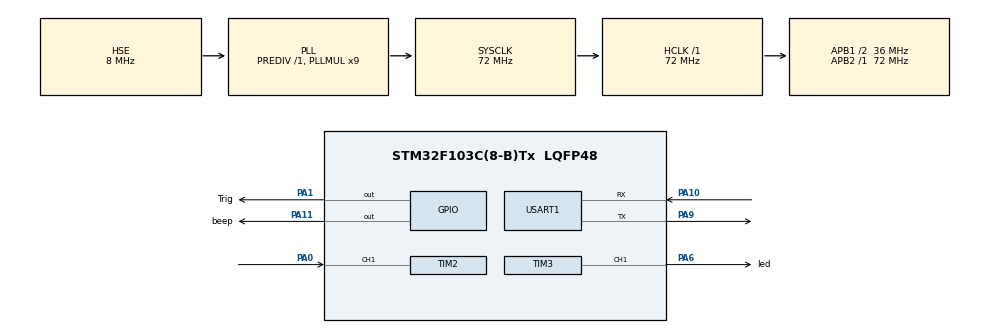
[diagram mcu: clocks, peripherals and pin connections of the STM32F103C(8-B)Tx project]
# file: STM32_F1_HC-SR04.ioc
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Mcu.Family=STM32F1
Mcu.Name=STM32F103C(8-B)Tx
Mcu.Package=LQFP48
NVIC.PriorityGroup=NVIC_PRIORITYGROUP_4
NVIC.TIM2_IRQn=true\:0\:0\:false\:false\:true\:false\:true\:true\:true
NVIC.TIM3_IRQn=true\:0\:0\:false\:false\:true\:false\:true\:true\:true
PA0-WKUP.Signal=S_TIM2_CH1_ETR
PA1.GPIO_Label=Trig
PA1.GPIO_ModeDefaultOutputPP=GPIO_MODE_OUTPUT_PP
PA1.GPIO_PuPd=GPIO_PULLUP
PA1.GPIO_Speed=GPIO_SPEED_FREQ_HIGH
PA1.PinState=GPIO_PIN_RESET
PA1.Signal=GPIO_Output
PA10.Mode=Asynchronous
PA10.Signal=USART1_RX
PA11.GPIO_Label=beep
PA11.Signal=GPIO_Output
PA13.Mode=Serial_Wire
PA13.Signal=SYS_JTMS-SWDIO
PA14.Mode=Serial_Wire
PA14.Signal=SYS_JTCK-SWCLK
PA6.GPIO_Label=led
PA6.Signal=S_TIM3_CH1
PA9.Mode=Asynchronous
PA9.Signal=USART1_TX
PD0-OSC_IN.Mode=HSE-External-Oscillator
PD0-OSC_IN.Signal=RCC_OSC_IN
PD1-OSC_OUT.Mode=HSE-External-Oscillator
PD1-OSC_OUT.Signal=RCC_OSC_OUT
ProjectManager.HeapSize=0x200
ProjectManager.StackSize=0x400
ProjectManager.TargetToolchain=MDK-ARM V5.32
RCC.AHBFreq_Value=72000000
RCC.APB1CLKDivider=RCC_HCLK_DIV2
RCC.APB1Freq_Value=36000000
RCC.APB1TimFreq_Value=72000000
RCC.APB2Freq_Value=72000000
RCC.APB2TimFreq_Value=72000000
RCC.HCLKFreq_Value=72000000
RCC.PLLMUL=RCC_PLL_MUL9
RCC.PLLSourceVirtual=RCC_PLLSOURCE_HSE
RCC.SYSCLKFreq_VALUE=72000000
RCC.SYSCLKSource=RCC_SYSCLKSOURCE_PLLCLK
RCC.USBFreq_Value=72000000
RealThread.RT-Thread.3.1.5.RTOSJjkernel=true
RealThread.RT-Thread.3.1.5.RTOSJjshell=true
SH.S_TIM2_CH1_ETR.0=TIM2_CH1,Input_Capture1_from_TI1
SH.S_TIM3_CH1.0=TIM3_CH1,PWM Generation1 CH1
TIM2.AutoReloadPreload=TIM_AUTORELOAD_PRELOAD_ENABLE
TIM2.Channel-Input_Capture1_from_TI1=TIM_CHANNEL_1
TIM2.Prescaler=71
TIM3.Channel-PWM\ Generation1\ CH1=TIM_CHANNEL_1
TIM3.Period=1999
TIM3.Prescaler=7199
USART1.VirtualMode=VM_ASYNC
VP_RealThread.RT-Thread_VS_RTOSJjkernel_3.1.5_3.1.5.Mode=RTOSJjkernel
VP_RealThread.RT-Thread_VS_RTOSJjshell_3.1.5_3.1.5.Mode=RTOSJjshell
VP_TIM2_VS_ClockSourceINT.Mode=Internal
VP_TIM3_VS_ClockSourceINT.Mode=Internal
board=custom

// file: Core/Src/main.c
/* USER CODE BEGIN Header */
/**
  ******************************************************************************
  * @file           : main.c
  * @brief          : Main program body
  ******************************************************************************
  * @attention
  *
  * <h2><center>&copy; Copyright (c) 2022 STMicroelectronics.
  * All rights reserved.</center></h2>
  *
  * This software component is licensed by ST under BSD 3-Clause license,
  * the "License"; You may not use this file except in compliance with the
  * License. You may obtain a copy of the License at:
  *                        opensource.org/licenses/BSD-3-Clause
  *
  ******************************************************************************
  */
/* USER CODE END Header */
#include "main.h"
#include "tim.h"
#include "usart.h"
#include "gpio.h"

/* USER CODE BEGIN Includes */
#include "SR04.h"
#include <rtthread.h>

/* USER CODE END Includes */

void SystemClock_Config(void);

int main(void)
{

  /* MCU Configuration--------------------------------------------------------*/

  /* Reset of all peripherals, Initializes the Flash interface and the Systick. */
  HAL_Init();

  /* Configure the system clock */
  SystemClock_Config();

  /* Initialize all configured peripherals */
  MX_GPIO_Init();
  MX_TIM2_Init();
  MX_USART1_UART_Init();
  MX_TIM3_Init();
  /* USER CODE BEGIN 2 */
HAL_TIM_PWM_Start(&htim3,TIM_CHANNEL_1);
    /* 创建线程 */
    rt_thread_t beep_control_task = rt_thread_create("beep_control",/* 线程名称 */
                            beep_control, RT_NULL,
                            1024, 3, 10); //
    if(beep_control_task != RT_NULL)
    {
        /* 启动线程 */
        rt_thread_startup(beep_control_task);
        rt_kprintf("beep_control_task is already started\n");

    }
    else
    {
        rt_kprintf("beep_control_task thread is not started\n");
    }

    rt_thread_t led_control_task = rt_thread_create("led_control",/* 线程名称 */
                            led_control, RT_NULL,
                            1024, 3, 10); //
    if(led_control_task != RT_NULL)
    {
        /* 启动线程 */
        rt_thread_startup(led_control_task);
        rt_kprintf("led_control_task is already started\n");

    }
    else
    {
        rt_kprintf("led_control_task thread is not started\n");
    }
  /* USER CODE END 2 */

  /* Infinite loop */
  /* USER CODE BEGIN WHILE */
       printf("getting...\n");
  while (1)
  {

      SR04_GetData();
      rt_thread_mdelay(1000);

    /* USER CODE END WHILE */

  }
}

void SystemClock_Config(void)
{
  RCC_OscInitTypeDef RCC_OscInitStruct = {0};
  RCC_ClkInitTypeDef RCC_ClkInitStruct = {0};

  /** Initializes the RCC Oscillators according to the specified parameters
  * in the RCC_OscInitTypeDef structure.
  */
  RCC_OscInitStruct.OscillatorType = RCC_OSCILLATORTYPE_HSE;
  RCC_OscInitStruct.HSEState = RCC_HSE_ON;
  RCC_OscInitStruct.HSEPredivValue = RCC_HSE_PREDIV_DIV1;
  RCC_OscInitStruct.HSIState = RCC_HSI_ON;
  RCC_OscInitStruct.PLL.PLLState = RCC_PLL_ON;
  RCC_OscInitStruct.PLL.PLLSource = RCC_PLLSOURCE_HSE;
  RCC_OscInitStruct.PLL.PLLMUL = RCC_PLL_MUL9;
  if (HAL_RCC_OscConfig(&RCC_OscInitStruct) != HAL_OK)
  {
    Error_Handler();
  }

  /** Initializes the CPU, AHB and APB buses clocks
  */
  RCC_ClkInitStruct.ClockType = RCC_CLOCKTYPE_HCLK|RCC_CLOCKTYPE_SYSCLK
                              |RCC_CLOCKTYPE_PCLK1|RCC_CLOCKTYPE_PCLK2;
  RCC_ClkInitStruct.SYSCLKSource = RCC_SYSCLKSOURCE_PLLCLK;
  RCC_ClkInitStruct.AHBCLKDivider = RCC_SYSCLK_DIV1;
  RCC_ClkInitStruct.APB1CLKDivider = RCC_HCLK_DIV2;
  RCC_ClkInitStruct.APB2CLKDivider = RCC_HCLK_DIV1;

  if (HAL_RCC_ClockConfig(&RCC_ClkInitStruct, FLASH_LATENCY_2) != HAL_OK)
  {
    Error_Handler();
  }
}

/* USER CODE BEGIN 4 */
void beep_control(void* promt){
  while (1)
  {
    int distant_int = distant;
    HAL_GPIO_WritePin(beep_GPIO_Port,beep_Pin,GPIO_PIN_RESET);
    rt_thread_mdelay(distant_int * 100);
    HAL_GPIO_WritePin(beep_GPIO_Port,beep_Pin,GPIO_PIN_SET);
    rt_thread_mdelay(distant_int * 100);
  }
}
void led_control(void *promt)
{
    while (1)
  {
    float pwm_state = (20.0-distant)/20.0;
		int distant_int = distant;
    int distant_pwm = (int)(pwm_state*500);
    __HAL_TIM_SetCompare(&htim3, TIM_CHANNEL_1,distant_pwm);
    rt_thread_mdelay(1000);
  }
}
/* USER CODE END 4 */

void Error_Handler(void)
{
  __disable_irq();
  while (1)
  {
  }
}
